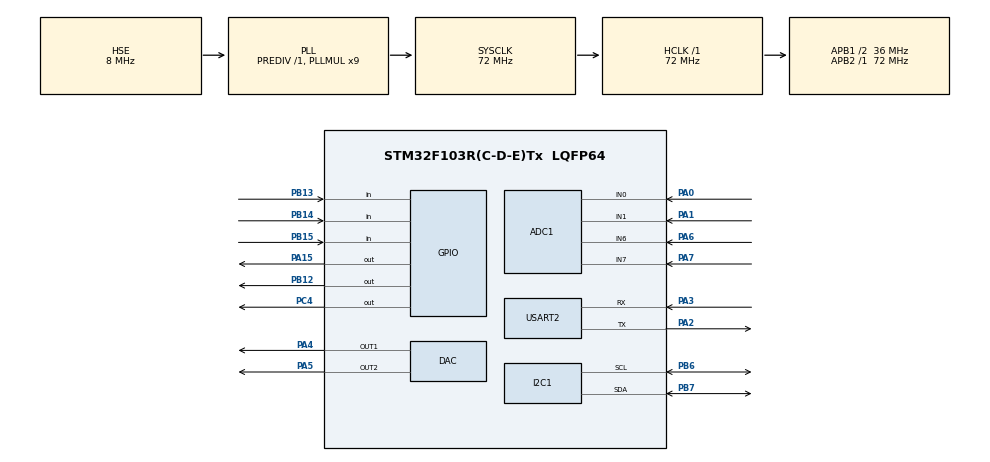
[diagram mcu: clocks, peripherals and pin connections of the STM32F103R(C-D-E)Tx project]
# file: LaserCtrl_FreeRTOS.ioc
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ADC1.Channel-0\#ChannelRegularConversion=ADC_CHANNEL_0
ADC1.Channel-1\#ChannelRegularConversion=ADC_CHANNEL_1
ADC1.Channel-2\#ChannelRegularConversion=ADC_CHANNEL_6
ADC1.Channel-3\#ChannelRegularConversion=ADC_CHANNEL_7
ADC1.NbrOfConversion=4
ADC1.NbrOfConversionFlag=1
ADC1.Rank-0\#ChannelRegularConversion=1
ADC1.Rank-1\#ChannelRegularConversion=2
ADC1.Rank-2\#ChannelRegularConversion=3
ADC1.Rank-3\#ChannelRegularConversion=4
ADC1.SamplingTime-0\#ChannelRegularConversion=ADC_SAMPLETIME_55CYCLES_5
ADC1.SamplingTime-1\#ChannelRegularConversion=ADC_SAMPLETIME_55CYCLES_5
ADC1.SamplingTime-2\#ChannelRegularConversion=ADC_SAMPLETIME_55CYCLES_5
ADC1.SamplingTime-3\#ChannelRegularConversion=ADC_SAMPLETIME_55CYCLES_5
ADC1.master=1
Dma.ADC1.0.Direction=DMA_PERIPH_TO_MEMORY
Dma.ADC1.0.Instance=DMA1_Channel1
Dma.ADC1.0.MemDataAlignment=DMA_MDATAALIGN_HALFWORD
Dma.ADC1.0.MemInc=DMA_MINC_ENABLE
Dma.ADC1.0.Mode=DMA_CIRCULAR
Dma.ADC1.0.PeriphDataAlignment=DMA_PDATAALIGN_HALFWORD
Dma.ADC1.0.PeriphInc=DMA_PINC_DISABLE
Dma.ADC1.0.Priority=DMA_PRIORITY_LOW
Dma.Request0=ADC1
FREERTOS.BinarySemaphores01=myBinarySem01,Dynamic,NULL,Available
FREERTOS.Mutexes01=i2cMutex,Dynamic,NULL,Available;laserStateMutex,Dynamic,NULL,Available;adcDataMutex,Dynamic,NULL,Available
FREERTOS.Queues01=uartCmdQueue,16,uint8_t,0,Dynamic,NULL,NULL
FREERTOS.Tasks01=defaultTask,24,128,StartDefaultTask,Default,NULL,Dynamic,NULL,NULL;UartRxTask,24,256,StartTask02,Default,NULL,Dynamic,NULL,NULL;CommandTask,32,512,StartTask03,Default,NULL,Dynamic,NULL,NULL;TempMonitorTask,24,256,StartTask04,Default,NULL,Dynamic,NULL,NULL;UartTxTask,8,512,StartTask05,Default,NULL,Dynamic,NULL,NULL
FREERTOS.configTOTAL_HEAP_SIZE=8000
Mcu.Family=STM32F1
Mcu.Name=STM32F103R(C-D-E)Tx
Mcu.Package=LQFP64
NVIC.DMA1_Channel1_IRQn=true\:5\:0\:false\:false\:true\:true\:false\:true\:true
NVIC.PriorityGroup=NVIC_PRIORITYGROUP_4
NVIC.TIM4_IRQn=true\:15\:0\:false\:false\:true\:false\:false\:true\:true
NVIC.TimeBase=TIM4_IRQn
NVIC.TimeBaseIP=TIM4
PA0-WKUP.Signal=ADCx_IN0
PA1.Signal=ADCx_IN1
PA13.Mode=Serial_Wire
PA13.Signal=SYS_JTMS-SWDIO
PA14.Mode=Serial_Wire
PA14.Signal=SYS_JTCK-SWCLK
PA15.GPIO_PuPd=GPIO_PULLDOWN
PA15.Signal=GPIO_Output
PA2.Mode=Asynchronous
PA2.Signal=USART2_TX
PA3.Mode=Asynchronous
PA3.Signal=USART2_RX
PA4.Signal=COMP_DAC1_group
PA5.Signal=COMP_DAC2_group
PA6.Signal=ADCx_IN6
PA7.Signal=ADCx_IN7
PB12.GPIO_PuPd=GPIO_PULLDOWN
PB12.Signal=GPIO_Output
PB13.GPIO_PuPd=GPIO_PULLDOWN
PB13.Signal=GPIO_Input
PB14.GPIO_PuPd=GPIO_PULLDOWN
PB14.Signal=GPIO_Input
PB15.GPIO_PuPd=GPIO_PULLDOWN
PB15.Signal=GPIO_Input
PB6.Mode=I2C
PB6.Signal=I2C1_SCL
PB7.Mode=I2C
PB7.Signal=I2C1_SDA
PC4.GPIO_PuPd=GPIO_PULLDOWN
PC4.Signal=GPIO_Output
PD0-OSC_IN.Mode=HSE-External-Oscillator
PD0-OSC_IN.Signal=RCC_OSC_IN
PD1-OSC_OUT.Mode=HSE-External-Oscillator
PD1-OSC_OUT.Signal=RCC_OSC_OUT
ProjectManager.HeapSize=0x200
ProjectManager.StackSize=0x400
ProjectManager.TargetToolchain=MDK-ARM V5.32
RCC.ADCPresc=RCC_ADCPCLK2_DIV6
RCC.AHBFreq_Value=72000000
RCC.APB1CLKDivider=RCC_HCLK_DIV2
RCC.APB1Freq_Value=36000000
RCC.APB1TimFreq_Value=72000000
RCC.APB2Freq_Value=72000000
RCC.APB2TimFreq_Value=72000000
RCC.HCLKFreq_Value=72000000
RCC.PLLMUL=RCC_PLL_MUL9
RCC.PLLSourceVirtual=RCC_PLLSOURCE_HSE
RCC.SYSCLKFreq_VALUE=72000000
RCC.SYSCLKSource=RCC_SYSCLKSOURCE_PLLCLK
RCC.USBFreq_Value=72000000
SH.ADCx_IN0.0=ADC1_IN0,IN0
SH.ADCx_IN1.0=ADC1_IN1,IN1
SH.ADCx_IN6.0=ADC1_IN6,IN6
SH.ADCx_IN7.0=ADC1_IN7,IN7
SH.COMP_DAC1_group.0=DAC_OUT1,DAC_OUT1
SH.COMP_DAC2_group.0=DAC_OUT2,DAC_OUT2
USART2.VirtualMode=VM_ASYNC
VP_FREERTOS_VS_CMSIS_V2.Mode=CMSIS_V2
VP_SYS_VS_tim4.Mode=TIM4
board=custom

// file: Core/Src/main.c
/* USER CODE BEGIN Header */
/**
  ******************************************************************************
  * @file           : main.c
  * @brief          : Main program body
  ******************************************************************************
  * @attention
  *
  * Copyright (c) 2026 STMicroelectronics.
  * All rights reserved.
  *
  * This software is licensed under terms that can be found in the LICENSE file
  * in the root directory of this software component.
  * If no LICENSE file comes with this software, it is provided AS-IS.
  *
  ******************************************************************************
  */
/* USER CODE END Header */
#include "main.h"
#include "cmsis_os.h"
#include "adc.h"
#include "dac.h"
#include "dma.h"
#include "i2c.h"
#include "usart.h"
#include "gpio.h"

/* USER CODE BEGIN Includes */
#include <string.h>

/* USER CODE END Includes */

void SystemClock_Config(void);
void MX_FREERTOS_Init(void);

int main(void)
{

  /* MCU Configuration--------------------------------------------------------*/

  /* Reset of all peripherals, Initializes the Flash interface and the Systick. */
  HAL_Init();

  /* Configure the system clock */
  SystemClock_Config();

  /* Initialize all configured peripherals */
  MX_GPIO_Init();
  MX_DMA_Init();
  MX_ADC1_Init();
  MX_USART2_UART_Init();
  MX_DAC_Init();
  MX_I2C1_Init();
  /* USER CODE BEGIN 2 */
  {
    const char *boot_msg = "Boot done V3: USART2 OK\r\n";
    (void)HAL_UART_Transmit(&huart2, (uint8_t *)boot_msg, (uint16_t)strlen(boot_msg), 200);
  }

  /* USER CODE END 2 */

  /* Init scheduler */
  if (osKernelInitialize() != osOK)
  {
    const char *msg = "Error: osKernelInitialize failed\r\n";
    (void)HAL_UART_Transmit(&huart2, (uint8_t *)msg, (uint16_t)strlen(msg), 200);
    while (1) { }
  }
  MX_FREERTOS_Init();

  /* Start scheduler */
  if (osKernelStart() != osOK)
  {
    const char *msg = "Error: osKernelStart failed\r\n";
    (void)HAL_UART_Transmit(&huart2, (uint8_t *)msg, (uint16_t)strlen(msg), 200);
    while (1) { }
  }

  /* We should never get here as control is now taken by the scheduler */

  /* Infinite loop */
  while (1)
  {

  }
}

void SystemClock_Config(void)
{
  RCC_OscInitTypeDef RCC_OscInitStruct = {0};
  RCC_ClkInitTypeDef RCC_ClkInitStruct = {0};
  RCC_PeriphCLKInitTypeDef PeriphClkInit = {0};

  /** Initializes the RCC Oscillators according to the specified parameters
  * in the RCC_OscInitTypeDef structure.
  */
  RCC_OscInitStruct.OscillatorType = RCC_OSCILLATORTYPE_HSE;
  RCC_OscInitStruct.HSEState = RCC_HSE_ON;
  RCC_OscInitStruct.HSEPredivValue = RCC_HSE_PREDIV_DIV1;
  RCC_OscInitStruct.HSIState = RCC_HSI_ON;
  RCC_OscInitStruct.PLL.PLLState = RCC_PLL_ON;
  RCC_OscInitStruct.PLL.PLLSource = RCC_PLLSOURCE_HSE;
  RCC_OscInitStruct.PLL.PLLMUL = RCC_PLL_MUL9;
  if (HAL_RCC_OscConfig(&RCC_OscInitStruct) != HAL_OK)
  {
    Error_Handler();
  }

  /** Initializes the CPU, AHB and APB buses clocks
  */
  RCC_ClkInitStruct.ClockType = RCC_CLOCKTYPE_HCLK|RCC_CLOCKTYPE_SYSCLK
                              |RCC_CLOCKTYPE_PCLK1|RCC_CLOCKTYPE_PCLK2;
  RCC_ClkInitStruct.SYSCLKSource = RCC_SYSCLKSOURCE_PLLCLK;
  RCC_ClkInitStruct.AHBCLKDivider = RCC_SYSCLK_DIV1;
  RCC_ClkInitStruct.APB1CLKDivider = RCC_HCLK_DIV2;
  RCC_ClkInitStruct.APB2CLKDivider = RCC_HCLK_DIV1;

  if (HAL_RCC_ClockConfig(&RCC_ClkInitStruct, FLASH_LATENCY_2) != HAL_OK)
  {
    Error_Handler();
  }
  PeriphClkInit.PeriphClockSelection = RCC_PERIPHCLK_ADC;
  PeriphClkInit.AdcClockSelection = RCC_ADCPCLK2_DIV6;
  if (HAL_RCCEx_PeriphCLKConfig(&PeriphClkInit) != HAL_OK)
  {
    Error_Handler();
  }
}

void HAL_TIM_PeriodElapsedCallback(TIM_HandleTypeDef *htim)
{
  if (htim->Instance == TIM4)
  {
    HAL_IncTick();
  }
}

void Error_Handler(void)
{
  __disable_irq();
  while (1)
  {
  }
}

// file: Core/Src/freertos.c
/* USER CODE BEGIN Header */
/**
  ******************************************************************************
  * File Name          : freertos.c
  * Description        : Code for freertos applications
  ******************************************************************************
  * @attention
  *
  * Copyright (c) 2026 STMicroelectronics.
  * All rights reserved.
  *
  * This software is licensed under terms that can be found in the LICENSE file
  * in the root directory of this software component.
  * If no LICENSE file comes with this software, it is provided AS-IS.
  *
  ******************************************************************************
  */
/* USER CODE END Header */

#include "FreeRTOS.h"
#include "task.h"
#include "main.h"
#include "cmsis_os.h"

/* USER CODE BEGIN Includes */
#include "adc.h"
#include "dac.h"
#include "gpio.h"
#include "i2c.h"
#include "mcp4725.h"
#include "usart.h"
#include <stdarg.h>
#include <stdbool.h>
#include <stdio.h>
#include <string.h>
/* USER CODE END Includes */

/* USER CODE BEGIN PTD */
typedef struct
{
  char text[160];
} UartLogMsg_t;

typedef struct
{
  uint32_t dac1;
  uint32_t dac2;
  uint16_t dac3;
  uint8_t temp1_ready;
  uint8_t temp2_ready;
  uint8_t temp3_ready;
  uint8_t en1;
  uint8_t en2;
  uint8_t en3;
} LaserState_t;

typedef struct
{
  uint16_t raw[4];
} AdcSnapshot_t;
/* USER CODE END PTD */

/* USER CODE BEGIN PD */
#define APP_FLAG_READY             (1UL << 0)

#define TEMP_DEBOUNCE_MS           200U
#define ADC_DMA_CHANNELS           4U

#define LASER12_DAC_MAX            3103U
#define LASER3_DAC_MAX             1861U

#define LASER1_BIG_STEP            31U
#define LASER1_SMALL_STEP          3U
#define LASER2_BIG_STEP            31U
#define LASER2_SMALL_STEP          3U
#define LASER3_STEP                20U
#define LASER3_SETTLE_DELAY_MS     200U

#define LASER3_VOLTAGE_MIN         2.0f
#define LASER3_VOLTAGE_MAX         3.3f
#define LASER3_ADC_VOLTAGE_MIN     0.0f
#define LASER3_ADC_VOLTAGE_MAX     3.26f
#define LASER3_CURRENT_MIN         0.8f
#define LASER3_CURRENT_MAX         10.0f
#define LASER3_ADC_CURRENT_MIN     0.0f
#define LASER3_ADC_CURRENT_MAX     2.71f
/* USER CODE END PD */

/* USER CODE BEGIN PM */
#define SAT_ADD_U32(v, step, hi) (((v) >= ((hi) - (step))) ? (hi) : ((v) + (step)))
/* USER CODE END PM */

/* USER CODE BEGIN Variables */
static LaserState_t g_laser = {
  .dac1 = 0U,
  .dac2 = 0U,
  .dac3 = 0U,
  .temp1_ready = 0U,
  .temp2_ready = 0U,
  .temp3_ready = 1U,
  .en1 = 0U,
  .en2 = 0U,
  .en3 = 0U
};

static AdcSnapshot_t g_adc = { .raw = {0U, 0U, 0U, 0U} };
static uint16_t g_adc_dma_buf[ADC_DMA_CHANNELS] = {0U};

static osMessageQueueId_t uartTxQueueHandle = NULL;
static osSemaphoreId_t adcReqSemHandle = NULL;
static osSemaphoreId_t adcDoneSemHandle = NULL;
static osSemaphoreId_t adcCpltSemHandle = NULL;
static osEventFlagsId_t appFlagsHandle = NULL;
/* USER CODE END Variables */
/* Definitions for defaultTask */
osThreadId_t defaultTaskHandle;
const osThreadAttr_t defaultTask_attributes = {
  .name = "defaultTask",
  .stack_size = 256 * 4,
  .priority = (osPriority_t) osPriorityLow,
};
/* Definitions for UartRxTask */
osThreadId_t UartRxTaskHandle;
const osThreadAttr_t UartRxTask_attributes = {
  .name = "UartRxTask",
  .stack_size = 256 * 4,
  .priority = (osPriority_t) osPriorityNormal,
};
/* Definitions for CommandTask */
osThreadId_t CommandTaskHandle;
const osThreadAttr_t CommandTask_attributes = {
  .name = "CommandTask",
  .stack_size = 512 * 4,
  .priority = (osPriority_t) osPriorityAboveNormal,
};
/* Definitions for TempMonitorTask */
osThreadId_t TempMonitorTaskHandle;
const osThreadAttr_t TempMonitorTask_attributes = {
  .name = "TempMonitorTask",
  .stack_size = 256 * 4,
  .priority = (osPriority_t) osPriorityNormal,
};
/* Definitions for UartTxTask */
osThreadId_t UartTxTaskHandle;
const osThreadAttr_t UartTxTask_attributes = {
  .name = "UartTxTask",
  .stack_size = 512 * 4,
  .priority = (osPriority_t) osPriorityLow,
};
/* Definitions for uartCmdQueue */
osMessageQueueId_t uartCmdQueueHandle;
const osMessageQueueAttr_t uartCmdQueue_attributes = {
  .name = "uartCmdQueue"
};
/* Definitions for i2cMutex */
osMutexId_t i2cMutexHandle;
const osMutexAttr_t i2cMutex_attributes = {
  .name = "i2cMutex"
};
/* Definitions for laserStateMutex */
osMutexId_t laserStateMutexHandle;
const osMutexAttr_t laserStateMutex_attributes = {
  .name = "laserStateMutex"
};
/* Definitions for adcDataMutex */
osMutexId_t adcDataMutexHandle;
const osMutexAttr_t adcDataMutex_attributes = {
  .name = "adcDataMutex"
};
/* Definitions for myBinarySem01 */
osSemaphoreId_t myBinarySem01Handle;
const osSemaphoreAttr_t myBinarySem01_attributes = {
  .name = "myBinarySem01"
};

/* USER CODE BEGIN FunctionPrototypes */
static void Log_Printf(const char *fmt, ...);
static void Hardware_InitSafe(void);
static void Laser_UpdateEnableLocked(void);
static bool Laser_CommandAllowedLocked(uint8_t cmd);
static void Laser_ProcessCommand(uint8_t cmd);
static void Adc_RequestAndWait(void);
static float Laser3_ADCtoVoltage(uint16_t adc_value);
static float Laser3_ADCtoCurrent(uint16_t adc_value);
/* USER CODE END FunctionPrototypes */

void StartDefaultTask(void *argument);
void StartTask02(void *argument);
void StartTask03(void *argument);
void StartTask04(void *argument);
void StartTask05(void *argument);
void StartTask06(void *argument);

void MX_FREERTOS_Init(void); /* (MISRA C 2004 rule 8.1) */

void MX_FREERTOS_Init(void) {
  /* USER CODE BEGIN Init */
  static const osMessageQueueAttr_t uartTxQueueAttr = { .name = "uartTxQueue" };
  static const osSemaphoreAttr_t adcReqSemAttr = { .name = "adcReqSem" };
  static const osSemaphoreAttr_t adcDoneSemAttr = { .name = "adcDoneSem" };
  static const osSemaphoreAttr_t adcCpltSemAttr = { .name = "adcCpltSem" };
  static const osEventFlagsAttr_t appFlagsAttr = { .name = "appFlags" };

  uartTxQueueHandle = osMessageQueueNew(12U, sizeof(UartLogMsg_t), &uartTxQueueAttr);
  adcReqSemHandle = osSemaphoreNew(1U, 0U, &adcReqSemAttr);
  adcDoneSemHandle = osSemaphoreNew(1U, 0U, &adcDoneSemAttr);
  adcCpltSemHandle = osSemaphoreNew(1U, 0U, &adcCpltSemAttr);
  appFlagsHandle = osEventFlagsNew(&appFlagsAttr);
  /* USER CODE END Init */

  /* Create the mutex(es) */
  /* creation of i2cMutex */
  i2cMutexHandle = osMutexNew(&i2cMutex_attributes);

  /* creation of laserStateMutex */
  laserStateMutexHandle = osMutexNew(&laserStateMutex_attributes);

  /* creation of adcDataMutex */
  adcDataMutexHandle = osMutexNew(&adcDataMutex_attributes);

  /* Create the semaphores(s) */
  /* creation of myBinarySem01 */
  myBinarySem01Handle = osSemaphoreNew(1, 0, &myBinarySem01_attributes);

  /* Create the queue(s) */
  /* creation of uartCmdQueue */
  uartCmdQueueHandle = osMessageQueueNew(16U, sizeof(uint8_t), &uartCmdQueue_attributes);

  /* Create the thread(s) */
  /* creation of defaultTask */
  defaultTaskHandle = osThreadNew(StartDefaultTask, NULL, &defaultTask_attributes);

  /* creation of UartRxTask */
  UartRxTaskHandle = osThreadNew(StartTask02, NULL, &UartRxTask_attributes);

  /* creation of CommandTask */
  CommandTaskHandle = osThreadNew(StartTask03, NULL, &CommandTask_attributes);

  /* creation of TempMonitorTask */
  TempMonitorTaskHandle = osThreadNew(StartTask04, NULL, &TempMonitorTask_attributes);

  /* creation of UartTxTask */
  UartTxTaskHandle = osThreadNew(StartTask05, NULL, &UartTxTask_attributes);

  /* USER CODE BEGIN RTOS_THREADS */
  static const osThreadAttr_t AdcTaskAttr = {
    .name = "AdcTask",
    .stack_size = 256 * 4,
    .priority = (osPriority_t) osPriorityNormal
  };
  (void)osThreadNew(StartTask06, NULL, &AdcTaskAttr);

  if ((uartTxQueueHandle == NULL) || (uartCmdQueueHandle == NULL) ||
      (i2cMutexHandle == NULL) || (laserStateMutexHandle == NULL) || (adcDataMutexHandle == NULL) ||
      (adcReqSemHandle == NULL) || (adcDoneSemHandle == NULL) || (adcCpltSemHandle == NULL) ||
      (appFlagsHandle == NULL) || (defaultTaskHandle == NULL) || (UartRxTaskHandle == NULL) ||
      (CommandTaskHandle == NULL) || (TempMonitorTaskHandle == NULL) || (UartTxTaskHandle == NULL))
  {
    const char *msg = "Error: RTOS object create failed\r\n";
    (void)HAL_UART_Transmit(&huart2, (uint8_t *)msg, (uint16_t)strlen(msg), 200U);
  }
  /* USER CODE END RTOS_THREADS */

}

void StartDefaultTask(void *argument)
{
  /* USER CODE BEGIN StartDefaultTask */
  (void)argument;
  Hardware_InitSafe();
  osEventFlagsSet(appFlagsHandle, APP_FLAG_READY);
  Log_Printf("RTOS multi-task init done\r\n");

  for (;;)
  {
    Log_Printf("Heartbeat: rx/cmd/temp/adc/tx running\r\n");
    osDelay(8000U);
  }
  /* USER CODE END StartDefaultTask */
}

void StartTask02(void *argument)
{
  /* USER CODE BEGIN StartTask02 */
  uint8_t rx = 0U;
  (void)argument;

  (void)osEventFlagsWait(appFlagsHandle, APP_FLAG_READY, osFlagsWaitAll, osWaitForever);
  for (;;)
  {
    if (HAL_UART_Receive(&huart2, &rx, 1U, 20U) == HAL_OK)
    {
      Log_Printf("RX cmd=%c\r\n", rx);
      if ((rx >= (uint8_t)'0') && (rx <= (uint8_t)'9'))
      {
        (void)osMessageQueuePut(uartCmdQueueHandle, &rx, 0U, 0U);
      }
      else
      {
        Log_Printf("Error: invalid cmd (0-9)\r\n");
      }
    }
    osDelay(1U);
  }
  /* USER CODE END StartTask02 */
}

void StartTask03(void *argument)
{
  /* USER CODE BEGIN StartTask03 */
  uint8_t cmd = 0U;
  (void)argument;

  (void)osEventFlagsWait(appFlagsHandle, APP_FLAG_READY, osFlagsWaitAll, osWaitForever);
  for (;;)
  {
    if (osMessageQueueGet(uartCmdQueueHandle, &cmd, NULL, osWaitForever) == osOK)
    {
      Laser_ProcessCommand(cmd);
    }
  }
  /* USER CODE END StartTask03 */
}

void StartTask04(void *argument)
{
  /* USER CODE BEGIN StartTask04 */
  uint8_t t1, t2, t3;
  uint8_t old1, old2, old3;
  (void)argument;

  (void)osEventFlagsWait(appFlagsHandle, APP_FLAG_READY, osFlagsWaitAll, osWaitForever);
  for (;;)
  {
    t1 = (uint8_t)HAL_GPIO_ReadPin(GPIOB, GPIO_PIN_13);
    t2 = (uint8_t)HAL_GPIO_ReadPin(GPIOB, GPIO_PIN_14);
    t3 = 1U; /* Laser3 default ready */

    (void)osMutexAcquire(laserStateMutexHandle, osWaitForever);
    old1 = g_laser.temp1_ready;
    old2 = g_laser.temp2_ready;
    old3 = g_laser.temp3_ready;

    g_laser.temp1_ready = t1;
    g_laser.temp2_ready = t2;
    g_laser.temp3_ready = t3;
    Laser_UpdateEnableLocked();
    (void)osMutexRelease(laserStateMutexHandle);

    if (old1 != t1)
    {
      Log_Printf("Temp state Laser1=%u\r\n", (unsigned)t1);
    }
    if (old2 != t2)
    {
      Log_Printf("Temp state Laser2=%u\r\n", (unsigned)t2);
    }
    if (old3 != t3)
    {
      Log_Printf("Temp state Laser3=%u\r\n", (unsigned)t3);
    }

    osDelay(TEMP_DEBOUNCE_MS);
  }
  /* USER CODE END StartTask04 */
}

void StartTask05(void *argument)
{
  /* USER CODE BEGIN StartTask05 */
  UartLogMsg_t msg;
  (void)argument;

  (void)osEventFlagsWait(appFlagsHandle, APP_FLAG_READY, osFlagsWaitAll, osWaitForever);
  for (;;)
  {
    if (osMessageQueueGet(uartTxQueueHandle, &msg, NULL, osWaitForever) == osOK)
    {
      (void)HAL_UART_Transmit(&huart2, (uint8_t *)msg.text, (uint16_t)strlen(msg.text), 200U);
    }
  }
  /* USER CODE END StartTask05 */
}

void StartTask06(void *argument)
{
  /* USER CODE BEGIN StartTask06 */
  (void)argument;
  (void)osEventFlagsWait(appFlagsHandle, APP_FLAG_READY, osFlagsWaitAll, osWaitForever);

  for (;;)
  {
    (void)osSemaphoreAcquire(adcReqSemHandle, osWaitForever);

    (void)HAL_ADC_Stop_DMA(&hadc1);
    memset(g_adc_dma_buf, 0, sizeof(g_adc_dma_buf));
    if (HAL_ADC_Start_DMA(&hadc1, (uint32_t *)g_adc_dma_buf, ADC_DMA_CHANNELS) == HAL_OK)
    {
      if (osSemaphoreAcquire(adcCpltSemHandle, 300U) == osOK)
      {
        (void)HAL_ADC_Stop_DMA(&hadc1);
        (void)osMutexAcquire(adcDataMutexHandle, osWaitForever);
        memcpy(g_adc.raw, g_adc_dma_buf, sizeof(g_adc.raw));
        (void)osMutexRelease(adcDataMutexHandle);
      }
      else
      {
        (void)HAL_ADC_Stop_DMA(&hadc1);
        Log_Printf("Error: ADC sample timeout\r\n");
      }
    }
    else
    {
      Log_Printf("Error: ADC start failed\r\n");
    }

    (void)osSemaphoreRelease(adcDoneSemHandle);
  }
  /* USER CODE END StartTask06 */
}

/* USER CODE BEGIN Application */
static void Log_Printf(const char *fmt, ...)
{
  UartLogMsg_t msg;
  va_list args;

  memset(&msg, 0, sizeof(msg));
  va_start(args, fmt);
  (void)vsnprintf(msg.text, sizeof(msg.text), fmt, args);
  va_end(args);

  if ((osKernelGetState() == osKernelRunning) && (uartTxQueueHandle != NULL))
  {
    if (osMessageQueuePut(uartTxQueueHandle, &msg, 0U, 0U) == osOK)
    {
      return;
    }
  }
  (void)HAL_UART_Transmit(&huart2, (uint8_t *)msg.text, (uint16_t)strlen(msg.text), 200U);
}

static void Hardware_InitSafe(void)
{
  (void)HAL_ADCEx_Calibration_Start(&hadc1);
  (void)HAL_DAC_Start(&hdac, DAC_CHANNEL_1);
  (void)HAL_DAC_Start(&hdac, DAC_CHANNEL_2);
  (void)HAL_DAC_SetValue(&hdac, DAC_CHANNEL_1, DAC_ALIGN_12B_R, 0U);
  (void)HAL_DAC_SetValue(&hdac, DAC_CHANNEL_2, DAC_ALIGN_12B_R, 0U);

  (void)osMutexAcquire(i2cMutexHandle, osWaitForever);
  (void)MCP4725_SetVoltage(&hi2c1, 0U);
  (void)osMutexRelease(i2cMutexHandle);

  (void)osMutexAcquire(laserStateMutexHandle, osWaitForever);
  g_laser.temp1_ready = (uint8_t)HAL_GPIO_ReadPin(GPIOB, GPIO_PIN_13);
  g_laser.temp2_ready = (uint8_t)HAL_GPIO_ReadPin(GPIOB, GPIO_PIN_14);
  g_laser.temp3_ready = 1U;
  Laser_UpdateEnableLocked();
  (void)osMutexRelease(laserStateMutexHandle);

  Log_Printf("System init done, waiting cmd\r\n");
}

static void Laser_UpdateEnableLocked(void)
{
  g_laser.en1 = g_laser.temp1_ready;
  g_laser.en2 = (uint8_t)(g_laser.temp1_ready && g_laser.temp2_ready);
  g_laser.en3 = (uint8_t)(g_laser.temp1_ready && g_laser.temp2_ready && g_laser.temp3_ready);

  HAL_GPIO_WritePin(GPIOB, GPIO_PIN_12, g_laser.en1 ? GPIO_PIN_SET : GPIO_PIN_RESET);
  HAL_GPIO_WritePin(GPIOA, GPIO_PIN_15, g_laser.en2 ? GPIO_PIN_SET : GPIO_PIN_RESET);
  HAL_GPIO_WritePin(GPIOC, GPIO_PIN_4, g_laser.en3 ? GPIO_PIN_SET : GPIO_PIN_RESET);
}

static bool Laser_CommandAllowedLocked(uint8_t cmd)
{
  if ((cmd >= (uint8_t)'0') && (cmd <= (uint8_t)'3'))
  {
    return (g_laser.temp1_ready != 0U);
  }
  if ((cmd >= (uint8_t)'4') && (cmd <= (uint8_t)'7'))
  {
    return (g_laser.temp1_ready && g_laser.temp2_ready) != 0U;
  }
  if ((cmd == (uint8_t)'8') || (cmd == (uint8_t)'9'))
  {
    return (g_laser.temp1_ready && g_laser.temp2_ready && g_laser.temp3_ready) != 0U;
  }
  return false;
}

static void Adc_RequestAndWait(void)
{
  (void)osSemaphoreRelease(adcReqSemHandle);
  (void)osSemaphoreAcquire(adcDoneSemHandle, 500U);
}

static float Laser3_ADCtoVoltage(uint16_t adc_value)
{
  float adc_voltage = (float)adc_value * 3.3f / 4096.0f;
  return LASER3_VOLTAGE_MIN +
         (adc_voltage - LASER3_ADC_VOLTAGE_MIN) *
         (LASER3_VOLTAGE_MAX - LASER3_VOLTAGE_MIN) /
         (LASER3_ADC_VOLTAGE_MAX - LASER3_ADC_VOLTAGE_MIN);
}

static float Laser3_ADCtoCurrent(uint16_t adc_value)
{
  float adc_voltage = (float)adc_value * 3.3f / 4096.0f;
  return LASER3_CURRENT_MIN +
         (adc_voltage - LASER3_ADC_CURRENT_MIN) *
         (LASER3_CURRENT_MAX - LASER3_CURRENT_MIN) /
         (LASER3_ADC_CURRENT_MAX - LASER3_ADC_CURRENT_MIN);
}

static void Laser_ProcessCommand(uint8_t cmd)
{
  AdcSnapshot_t snap;
  uint32_t d1;
  uint32_t d2;
  uint16_t d3;
  float input_v, input_i, out_v, out_i;

  (void)osMutexAcquire(laserStateMutexHandle, osWaitForever);
  if (!Laser_CommandAllowedLocked(cmd))
  {
    if ((cmd >= (uint8_t)'0') && (cmd <= (uint8_t)'3'))
    {
      Log_Printf("Reject: Laser1 temp not ready\r\n");
    }
    else if ((cmd >= (uint8_t)'4') && (cmd <= (uint8_t)'7'))
    {
      Log_Printf("Reject: Laser1/Laser2 not ready\r\n");
    }
    else
    {
      Log_Printf("Reject: Laser1/Laser2/Laser3 not ready\r\n");
    }
    (void)osMutexRelease(laserStateMutexHandle);
    return;
  }

  switch (cmd)
  {
    case '0':
      g_laser.dac1 = (g_laser.dac1 >= LASER1_BIG_STEP) ? (g_laser.dac1 - LASER1_BIG_STEP) : 0U;
      break;
    case '1':
      g_laser.dac1 = SAT_ADD_U32(g_laser.dac1, LASER1_BIG_STEP, LASER12_DAC_MAX);
      break;
    case '2':
      g_laser.dac1 = (g_laser.dac1 >= LASER1_SMALL_STEP) ? (g_laser.dac1 - LASER1_SMALL_STEP) : 0U;
      break;
    case '3':
      g_laser.dac1 = SAT_ADD_U32(g_laser.dac1, LASER1_SMALL_STEP, LASER12_DAC_MAX);
      break;
    case '4':
      g_laser.dac2 = SAT_ADD_U32(g_laser.dac2, LASER2_BIG_STEP, LASER12_DAC_MAX);
      break;
    case '5':
      g_laser.dac2 = (g_laser.dac2 >= LASER2_BIG_STEP) ? (g_laser.dac2 - LASER2_BIG_STEP) : 0U;
      break;
    case '6':
      g_laser.dac2 = SAT_ADD_U32(g_laser.dac2, LASER2_SMALL_STEP, LASER12_DAC_MAX);
      break;
    case '7':
      g_laser.dac2 = (g_laser.dac2 >= LASER2_SMALL_STEP) ? (g_laser.dac2 - LASER2_SMALL_STEP) : 0U;
      break;
    case '8':
      g_laser.dac3 = (uint16_t)SAT_ADD_U32(g_laser.dac3, LASER3_STEP, LASER3_DAC_MAX);
      break;
    case '9':
      g_laser.dac3 = (g_laser.dac3 >= LASER3_STEP) ? (g_laser.dac3 - LASER3_STEP) : 0U;
      break;
    default:
      (void)osMutexRelease(laserStateMutexHandle);
      return;
  }

  d1 = g_laser.dac1;
  d2 = g_laser.dac2;
  d3 = g_laser.dac3;
  (void)osMutexRelease(laserStateMutexHandle);

  if ((cmd >= (uint8_t)'0') && (cmd <= (uint8_t)'3'))
  {
    (void)HAL_DAC_SetValue(&hdac, DAC_CHANNEL_1, DAC_ALIGN_12B_R, d1);
    osDelay(100U);
  }
  else if ((cmd >= (uint8_t)'4') && (cmd <= (uint8_t)'7'))
  {
    (void)HAL_DAC_SetValue(&hdac, DAC_CHANNEL_2, DAC_ALIGN_12B_R, d2);
    osDelay(100U);
  }
  else
  {
    (void)osMutexAcquire(i2cMutexHandle, osWaitForever);
    (void)MCP4725_SetVoltage(&hi2c1, d3);
    (void)osMutexRelease(i2cMutexHandle);
    osDelay(LASER3_SETTLE_DELAY_MS);
  }

  Adc_RequestAndWait();
  (void)osMutexAcquire(adcDataMutexHandle, osWaitForever);
  memcpy(&snap, &g_adc, sizeof(snap));
  (void)osMutexRelease(adcDataMutexHandle);

  if ((cmd >= (uint8_t)'0') && (cmd <= (uint8_t)'3'))
  {
    input_v = (float)d1 * 3.3f / 4096.0f;
    input_i = input_v / 2.5f;
    out_v = (float)snap.raw[0] * 3.3f / 4096.0f;
    out_i = out_v / 2.5f;
    Log_Printf("Laser1: DAC=%lu, InI=%.3fA, InV=%.3fV, OutI=%.3fA, OutV=%.3fV\r\n",
               d1, input_i, input_v, out_i, out_v);
  }
  else if ((cmd >= (uint8_t)'4') && (cmd <= (uint8_t)'7'))
  {
    input_v = (float)d2 * 3.3f / 4096.0f;
    input_i = input_v / 2.5f;
    out_v = (float)snap.raw[1] * 3.3f / 4096.0f;
    out_i = out_v / 2.5f;
    Log_Printf("Laser2: DAC=%lu, InI=%.3fA, InV=%.3fV, OutI=%.3fA, OutV=%.3fV\r\n",
               d2, input_i, input_v, out_i, out_v);
  }
  else
  {
    input_v = (float)d3 * 3.3f / 4096.0f;
    input_i = input_v * 6.13f + 0.8f;
    out_v = Laser3_ADCtoVoltage(snap.raw[2]);
    out_i = Laser3_ADCtoCurrent(snap.raw[3]);
    Log_Printf("Laser3: DAC=%u, InI=%.3fA, InV=%.3fV, OutI=%.3fA, OutV=%.3fV\r\n",
               d3, input_i, input_v, out_i, out_v);
  }
}

void HAL_ADC_ConvCpltCallback(ADC_HandleTypeDef *hadc)
{
  if ((hadc->Instance == ADC1) && (adcCpltSemHandle != NULL))
  {
    (void)osSemaphoreRelease(adcCpltSemHandle);
  }
}
/* USER CODE END Application */
